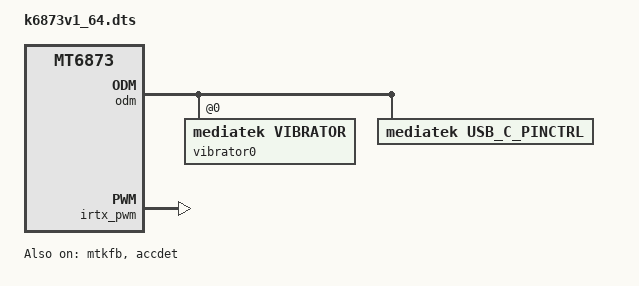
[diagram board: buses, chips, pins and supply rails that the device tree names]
/*
 * Mediatek's mt6873 SoC device tree source
 *
 * Copyright (C) 2016 MediaTek Inc.
 *
 * This program is free software; you can redistribute it and/or modify
 * it under the terms of the GNU General Public License version 2 as
 * published by the Free Software Foundation.
 *
 * This program is distributed in the hope that it will be useful,
 * but WITHOUT ANY WARRANTY; without even the implied warranty of
 * MERCHANTABILITY or FITNESS FOR A PARTICULAR PURPOSE.
 * See http://www.gnu.org/licenses/gpl-2.0.html for more details.
 */
/dts-v1/;
/plugin/;
#include <dt-bindings/interrupt-controller/irq.h>
#include <dt-bindings/interrupt-controller/arm-gic.h>
#include <dt-bindings/pinctrl/mt6873-pinfunc.h>

&reserved_memory {
};

/* chosen */
&chosen {

	atag,videolfb-fb_base_l = <0x7e605000>;
	atag,videolfb-fb_base_h = <0x0>;
	atag,videolfb-islcmfound = <1>;
	atag,videolfb-islcm_inited = <0>;
	atag,videolfb-fps= <6000>;
	atag,videolfb-vramSize= <0x1be0000>;
	atag,videolfb-lcmname=
		"nt35595_fhd_dsi_cmd_truly_nt50358_drv";
};

&timer {
	clock-frequency = <150000000>;
};

&odm {
	vibrator0:vibrator@0 {
		compatible = "mediatek,vibrator";
		vib_timer = <25>;
		vib_limit = <9>;
		vib_vol= <9>;
	};
	usb_c_pinctrl:usb_c_pinctrl {
		compatible = "mediatek,usb_c_pinctrl";
	};
};


&mt6360_pmu {
	mt6360,intr_gpio_num = <24>; /* direct defined GPIO num */
	mt6360,intr_gpio = <&pio 24 0x0>;
};

&mt6360_pmic {
	pwr_off_seq = [02 00 02 02];
};

/* DISPSYS GPIO standardization */

&pio {
	mtkfb_pins_lcd_bias_enp1: lcd_bias_enp1_gpio {
		pins_cmd_dat {
			pinmux = <PINMUX_GPIO23__FUNC_GPIO23>;
			slew-rate = <1>;
			output-high;
		};
	};

	mtkfb_pins_lcd_bias_enp0: lcd_bias_enp0_gpio {
		pins_cmd_dat {
			pinmux = <PINMUX_GPIO23__FUNC_GPIO23>;
			slew-rate = <1>;
			output-low;
		};
	};

	mtkfb_pins_lcd_bias_enn1: lcd_bias_enn1_gpio {
		pins_cmd_dat {
			pinmux = <PINMUX_GPIO202__FUNC_GPIO202>;
			slew-rate = <1>;
			output-high;
		};
	};

	mtkfb_pins_lcd_bias_enn0: lcd_bias_enn0_gpio {
		pins_cmd_dat {
			pinmux = <PINMUX_GPIO202__FUNC_GPIO202>;
			slew-rate = <1>;
			output-low;
		};
	};

	mtkfb_pins_lcm_rst_out1_gpio: lcm_rst_out1_gpio {
		pins_cmd_dat {
			pinmux = <PINMUX_GPIO42__FUNC_GPIO42>;
			slew-rate = <1>;
			output-high;
		};
	};

	mtkfb_pins_lcm_rst_out0_gpio: lcm_rst_out0_gpio {
		pins_cmd_dat {
			pinmux = <PINMUX_GPIO42__FUNC_GPIO42>;
			slew-rate = <1>;
			output-low;
		};
	};
	mtkfb_pins_lcm_dsi_te: lcm_dsi_te {
		pins_cmd_dat {
			pinmux = <PINMUX_GPIO41__FUNC_DSI_TE>;
		};
	};
};

&mtkfb {
	pinctrl-names = "lcd_bias_enp1_gpio", "lcd_bias_enp0_gpio",
		"lcd_bias_enn1_gpio", "lcd_bias_enn0_gpio",
		"lcm_rst_out1_gpio", "lcm_rst_out0_gpio",
		"mode_te_te";
	pinctrl-0 = <&mtkfb_pins_lcd_bias_enp1>;
	pinctrl-1 = <&mtkfb_pins_lcd_bias_enp0>;
	pinctrl-2 = <&mtkfb_pins_lcd_bias_enn1>;
	pinctrl-3 = <&mtkfb_pins_lcd_bias_enn0>;
	pinctrl-4 = <&mtkfb_pins_lcm_rst_out1_gpio>;
	pinctrl-5 = <&mtkfb_pins_lcm_rst_out0_gpio>;
	pinctrl-6 = <&mtkfb_pins_lcm_dsi_te>;
	status = "okay";
};

/* accdet start */
&accdet {
	/* accdet micbias voltage: 0x09:2.85v 0x08:2.8v 0x07,
	 * 2.7v;0x05,2.5v;0x02,1.9v
	 */
	accdet-mic-vol = <8>;
	/* accdet pwm_width, pwm_thresh, fall_delay, rise_delay
	 * debounce0, debounce1, debounce3, debounce4
	 * eint pwm_width, eint pwm_thresh
	 * eint deb(debounce0, debounce1, debounce2, debounce3), inv_debounce
	 */
	headset-mode-setting = <0x500 0x500 1 0x1f0
				0x800 0x800 0x20 0x44
				0x4 0x1
				0x5 0x3 0x3 0x5 0xe>;
	accdet-plugout-debounce = <1>;
	/*1:ACC mode, 2:low cost without in bias, 6:low cost with in bias*/
	accdet-mic-mode = <2>;
	/*0--MD_MAX--UP_MAX--DW_MAX*/
	headset-three-key-threshold = <0 80 220 400>;
	headset-three-key-threshold-CDD = <0 121 192 600>;
	/*0--MD_MAX--VOICE_MAX--UP_MAX--DW_MAX*/
	headset-four-key-threshold = <0 58 121 192 400>;

	/* select VTH to 2v and 500k, use internal resitance */
	eint_use_ext_res = <0>;
	status = "okay";
};
/* accdet end */

/* IRTX GPIO Start */
&irtx_pwm {
	pinctrl-names = "irtx_gpio_led_default", "irtx_gpio_led_set";
	pinctrl-0 = <&irtx_gpio_led_default>;
	pinctrl-1 = <&irtx_gpio_led_set>;
	status = "okay";
};
&pio {
	/* IRTX GPIO Settings -Start */
	/* default: GPIO0, output, high */
	irtx_gpio_led_default:irtx_gpio_led_def@gpio127 {
		pins_cmd_dat {
			pinmux = <PINMUX_GPIO127__FUNC_GPIO127>;
			slew-rate = <1>;
			bias-disable;
			output-low;
			input-schmitt-enable = <0>;
		};
	};

	irtx_gpio_led_set:irtx_gpio_led_set@gpio127 {
		pins_cmd_dat {
			pinmux = <PINMUX_GPIO127__FUNC_PWM_3>;
			slew-rate = <1>;
			output-high;
		};
	};
}; /* IRTX GPIO Settings -End */

&mt6360_typec {
	mt6360pd,intr_gpio_num = <25>; /* direct defined GPIO num */
	mt6360pd,intr_gpio = <&pio 25 0x0>;
};

/* USB SWITCH GPIO start */
&pio {
	usb_default: usb_default {
	};

	gpio_redriver_c1_init: c1_init {
		pins_cmd_dat {
			pinmux = <PINMUX_GPIO113__FUNC_GPIO113>;
			slew-rate = <1>;
			output-low;
		};
	};

	gpio_redriver_c1_low: c1_low {
		pins_cmd_dat {
			pinmux = <PINMUX_GPIO113__FUNC_GPIO113>;
			slew-rate = <1>;
			output-low;
		};
	};

	gpio_redriver_c1_hiz: c1_highz {
		pins_cmd_dat {
			pinmux = <PINMUX_GPIO113__FUNC_GPIO113>;
			slew-rate= <0>;
			bias-disable;
		};
	};

	gpio_redriver_c1_high: c1_high {
		pins_cmd_dat {
			pinmux = <PINMUX_GPIO113__FUNC_GPIO113>;
			slew-rate = <1>;
			output-high;
		};
	};

	gpio_redriver_c2_init: c2_init {
		pins_cmd_dat {
			pinmux = <PINMUX_GPIO112__FUNC_GPIO112>;
			slew-rate = <1>;
			output-low;
		};
	};

	gpio_redriver_c2_low: c2_low {
		pins_cmd_dat {
			pinmux = <PINMUX_GPIO112__FUNC_GPIO112>;
			slew-rate = <1>;
			output-low;
		};
	};

	gpio_redriver_c2_hiz: c2_highz {
		pins_cmd_dat {
			pinmux = <PINMUX_GPIO112__FUNC_GPIO112>;
			slew-rate= <0>;
			bias-disable;
		};
	};

	gpio_redriver_c2_high: c2_high {
		pins_cmd_dat {
			pinmux = <PINMUX_GPIO112__FUNC_GPIO112>;
			slew-rate = <1>;
			output-high;
		};
	};

	gpio_u3_switch_sel1: u3_sw_sel1 {
		pins_cmd_dat {
			pinmux = <PINMUX_GPIO111__FUNC_GPIO111>;
			slew-rate = <1>;
			output-low;
		};
	};

	gpio_u3_switch_sel2: u3_sw_sel2 {
		pins_cmd_dat {
			pinmux = <PINMUX_GPIO111__FUNC_GPIO111>;
			slew-rate = <1>;
			output-high;
		};
	};

	gpio_u3_switch_enable: u3_sw_en {
	};

	gpio_u3_switch_disable: u3_sw_dis {
	};
};

&usb_c_pinctrl {
	pinctrl-names = "usb_default",
		"redrv_c1_init",
		"redrv_c1_low",
		"redrv_c1_hiz",
		"redrv_c1_high",
		"redrv_c2_init",
		"redrv_c2_low",
		"redrv_c2_hiz",
		"redrv_c2_high",
		"switch_sel1",
		"switch_sel2",
		"switch_enable",
		"switch_disable";

	pinctrl-0 = <&usb_default>;
	pinctrl-1 = <&gpio_redriver_c1_init>;
	pinctrl-2 = <&gpio_redriver_c1_low>;
	pinctrl-3 = <&gpio_redriver_c1_hiz>;
	pinctrl-4 = <&gpio_redriver_c1_high>;
	pinctrl-5 = <&gpio_redriver_c2_init>;
	pinctrl-6 = <&gpio_redriver_c2_low>;
	pinctrl-7 = <&gpio_redriver_c2_hiz>;
	pinctrl-8 = <&gpio_redriver_c2_high>;
	pinctrl-9 = <&gpio_u3_switch_sel1>;
	pinctrl-10 = <&gpio_u3_switch_sel2>;
	pinctrl-11 = <&gpio_u3_switch_enable>;
	pinctrl-12 = <&gpio_u3_switch_disable>;
	status = "okay";

	usb_switch-data {
		en_pin_num = <0>;
		en_pin_val = <0>;
		sel_pin_num = <111>;
		sel_pin_val = <1>;
		c1_pin_num = <113>;
		c1_pin_val = <2>;
		c2_pin_num = <112>;
		c2_pin_val = <1>;
	};
};
/* USB SWITCH GPIO end */

#include "cust_mt6873_camera.dtsi"
#include <k6873v1_64/cust.dtsi>
/*End of this file, DO NOT ADD ANYTHING HERE*/
